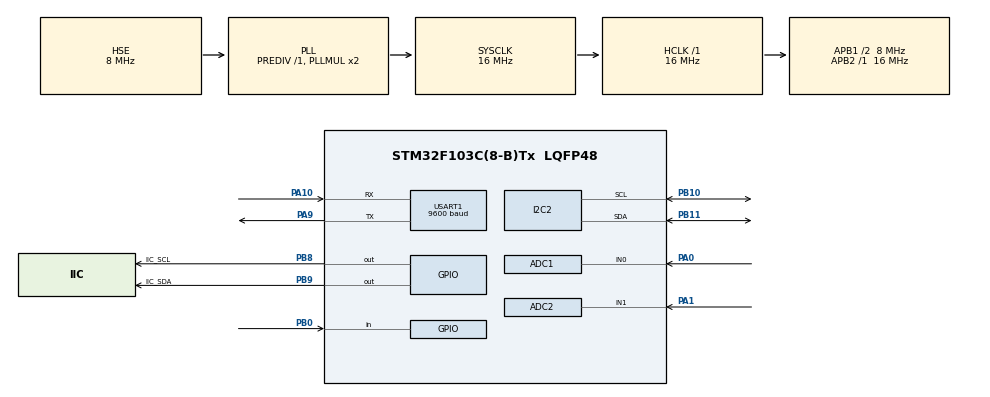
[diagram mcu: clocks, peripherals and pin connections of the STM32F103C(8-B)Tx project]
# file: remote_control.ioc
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ADC1.Channel-2\#ChannelRegularConversion=ADC_CHANNEL_0
ADC1.NbrOfConversion=1
ADC1.NbrOfConversionFlag=1
ADC1.Rank-2\#ChannelRegularConversion=1
ADC1.SamplingTime-2\#ChannelRegularConversion=ADC_SAMPLETIME_239CYCLES_5
ADC1.master=1
ADC2.Channel-0\#ChannelRegularConversion=ADC_CHANNEL_1
ADC2.NbrOfConversionFlag=1
ADC2.Rank-0\#ChannelRegularConversion=1
ADC2.SamplingTime-0\#ChannelRegularConversion=ADC_SAMPLETIME_239CYCLES_5
Mcu.Family=STM32F1
Mcu.Name=STM32F103C(8-B)Tx
Mcu.Package=LQFP48
NVIC.PriorityGroup=NVIC_PRIORITYGROUP_4
NVIC.USART1_IRQn=true\:0\:0\:false\:false\:true\:true\:true\:true
PA0-WKUP.Signal=ADCx_IN0
PA1.Signal=ADCx_IN1
PA10.Mode=Asynchronous
PA10.Signal=USART1_RX
PA13.Mode=Serial_Wire
PA13.Signal=SYS_JTMS-SWDIO
PA14.Mode=Serial_Wire
PA14.Signal=SYS_JTCK-SWCLK
PA9.Mode=Asynchronous
PA9.Signal=USART1_TX
PB0.GPIO_PuPd=GPIO_PULLUP
PB0.Signal=GPIO_Input
PB10.Mode=I2C
PB10.Signal=I2C2_SCL
PB11.Mode=I2C
PB11.Signal=I2C2_SDA
PB8.GPIO_Label=IIC_SCL
PB8.PinState=GPIO_PIN_SET
PB8.Signal=GPIO_Output
PB9.GPIO_Label=IIC_SDA
PB9.PinState=GPIO_PIN_SET
PB9.Signal=GPIO_Output
PC14-OSC32_IN.Mode=LSE-External-Oscillator
PC14-OSC32_IN.Signal=RCC_OSC32_IN
PC15-OSC32_OUT.Mode=LSE-External-Oscillator
PC15-OSC32_OUT.Signal=RCC_OSC32_OUT
PD0-OSC_IN.Mode=HSE-External-Oscillator
PD0-OSC_IN.Signal=RCC_OSC_IN
PD1-OSC_OUT.Mode=HSE-External-Oscillator
PD1-OSC_OUT.Signal=RCC_OSC_OUT
ProjectManager.HeapSize=0x200
ProjectManager.StackSize=0x400
ProjectManager.TargetToolchain=CMake
RCC.AHBFreq_Value=16000000
RCC.APB1CLKDivider=RCC_HCLK_DIV2
RCC.APB1Freq_Value=8000000
RCC.APB1TimFreq_Value=16000000
RCC.APB2Freq_Value=16000000
RCC.APB2TimFreq_Value=16000000
RCC.HCLKFreq_Value=16000000
RCC.PLLSourceVirtual=RCC_PLLSOURCE_HSE
RCC.SYSCLKFreq_VALUE=16000000
RCC.SYSCLKSource=RCC_SYSCLKSOURCE_PLLCLK
RCC.USBFreq_Value=16000000
SH.ADCx_IN0.0=ADC1_IN0,IN0
SH.ADCx_IN1.0=ADC2_IN1,IN1
USART1.BaudRate=9600
USART1.VirtualMode=VM_ASYNC
board=custom

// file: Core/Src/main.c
/* USER CODE BEGIN Header */
/**
  ******************************************************************************
  * @file           : main.c
  * @brief          : Main program body
  ******************************************************************************
  * @attention
  *
  * Copyright (c) 2026 STMicroelectronics.
  * All rights reserved.
  *
  * This software is licensed under terms that can be found in the LICENSE file
  * in the root directory of this software component.
  * If no LICENSE file comes with this software, it is provided AS-IS.
  *
  ******************************************************************************
  */
/* USER CODE END Header */
#include "main.h"
#include "adc.h"
#include "i2c.h"
#include "usart.h"
#include "gpio.h"

/* USER CODE BEGIN Includes */
#include "blueteeth.h"
#include "control.h"
#include <stdio.h>
#include "oled.h"
/* USER CODE END Includes */

void SystemClock_Config(void);

/* USER CODE BEGIN 0 */
 int _write(int file, char *ptr, int len)
{
    // 使用 HAL 库堵塞式发送数据
    HAL_UART_Transmit(&huart1, (uint8_t *)ptr, len, HAL_MAX_DELAY);
    return len;
}
/* USER CODE END 0 */

int main(void)
{

  /* MCU Configuration--------------------------------------------------------*/

  /* Reset of all peripherals, Initializes the Flash interface and the Systick. */
  HAL_Init();

  /* Configure the system clock */
  SystemClock_Config();

  /* Initialize all configured peripherals */
  MX_GPIO_Init();
  MX_USART1_UART_Init();
  MX_ADC1_Init();
  MX_ADC2_Init();
  MX_I2C2_Init();
  /* USER CODE BEGIN 2 */
send_test();
OLED_Init();
OLED_Clear();
 OLED_Refresh_Gram();
  /* USER CODE END 2 */

  /* Infinite loop */
  while (1)
  {

    /* USER CODE BEGIN 3 */
    //control_init();
    // int x_number1 = control_get_adc1_number1();
    // int y_number2 = control_get_adc1_number2();
    OLED_ShowString(0, 0, "ADC1:", 16);
    OLED_ShowNum(48, 0, ADC1_number1, 4, 16);
    OLED_ShowString(0, 16, "ADC2:", 16);
    OLED_ShowNum(48, 16, ADC2_number1, 4, 16);
    control_get_all_adc();
    int x_number1 = ADC1_number1;
    int y_number2 = ADC2_number1;
    // printf("ADC1_number1: %d, ADC2_number1: %d\r\n", x_number1, y_number2);
    // HAL_Delay(100);
    int send_data = 0;
    if(x_number1 > 3000)
    {
        send_data = 'G';
    }else if(x_number1 < 1000)
    {
        send_data = 'M';
    }
    else if(y_number2 > 3000)
    {
        send_data = 'L';
    }
    else if(y_number2 < 1000)
    {
        send_data = 'R';
    }
    else
    {
        send_data = 0;
    }
    if(HAL_GPIO_ReadPin(GPIOB, GPIO_PIN_0) == GPIO_PIN_RESET)
    {
        send_data = 'S';
    }
    printf("send_data: %c\r\n", send_data);
    HAL_Delay(100);
    OLED_Refresh_Gram();

  }
  /* USER CODE END 3 */
}

void SystemClock_Config(void)
{
  RCC_OscInitTypeDef RCC_OscInitStruct = {0};
  RCC_ClkInitTypeDef RCC_ClkInitStruct = {0};
  RCC_PeriphCLKInitTypeDef PeriphClkInit = {0};

  /** Initializes the RCC Oscillators according to the specified parameters
  * in the RCC_OscInitTypeDef structure.
  */
  RCC_OscInitStruct.OscillatorType = RCC_OSCILLATORTYPE_HSE;
  RCC_OscInitStruct.HSEState = RCC_HSE_ON;
  RCC_OscInitStruct.HSEPredivValue = RCC_HSE_PREDIV_DIV1;
  RCC_OscInitStruct.HSIState = RCC_HSI_ON;
  RCC_OscInitStruct.PLL.PLLState = RCC_PLL_ON;
  RCC_OscInitStruct.PLL.PLLSource = RCC_PLLSOURCE_HSE;
  RCC_OscInitStruct.PLL.PLLMUL = RCC_PLL_MUL2;
  if (HAL_RCC_OscConfig(&RCC_OscInitStruct) != HAL_OK)
  {
    Error_Handler();
  }

  /** Initializes the CPU, AHB and APB buses clocks
  */
  RCC_ClkInitStruct.ClockType = RCC_CLOCKTYPE_HCLK|RCC_CLOCKTYPE_SYSCLK
                              |RCC_CLOCKTYPE_PCLK1|RCC_CLOCKTYPE_PCLK2;
  RCC_ClkInitStruct.SYSCLKSource = RCC_SYSCLKSOURCE_PLLCLK;
  RCC_ClkInitStruct.AHBCLKDivider = RCC_SYSCLK_DIV1;
  RCC_ClkInitStruct.APB1CLKDivider = RCC_HCLK_DIV2;
  RCC_ClkInitStruct.APB2CLKDivider = RCC_HCLK_DIV1;

  if (HAL_RCC_ClockConfig(&RCC_ClkInitStruct, FLASH_LATENCY_0) != HAL_OK)
  {
    Error_Handler();
  }
  PeriphClkInit.PeriphClockSelection = RCC_PERIPHCLK_ADC;
  PeriphClkInit.AdcClockSelection = RCC_ADCPCLK2_DIV2;
  if (HAL_RCCEx_PeriphCLKConfig(&PeriphClkInit) != HAL_OK)
  {
    Error_Handler();
  }
}

void Error_Handler(void)
{
  __disable_irq();
  while (1)
  {
  }
}
